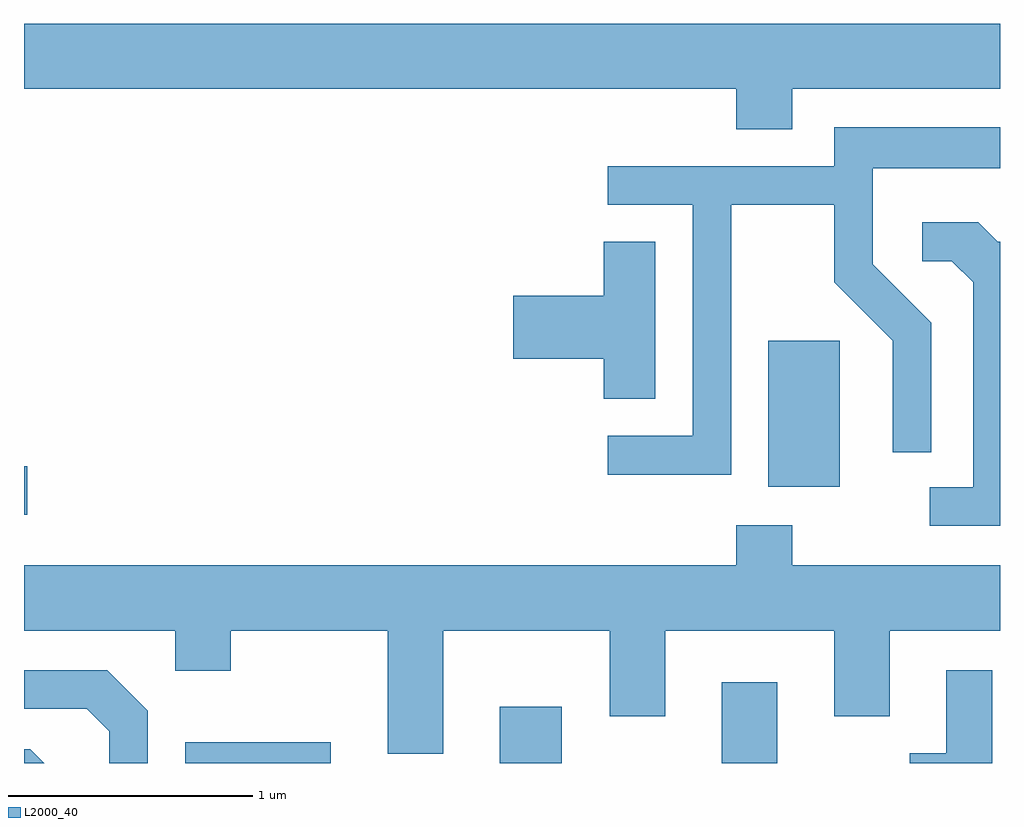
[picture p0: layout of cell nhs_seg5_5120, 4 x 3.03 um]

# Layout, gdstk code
import gdstk
lib = gdstk.Library(unit=1e-6, precision=1e-09)
def R(c, l, rs):  # rectangles x0, y0, x1, y1
    for r in rs: c.add(gdstk.rectangle(r[:2], r[2:], *l))
def P(c, l, *ps):  # polygons
    for p in ps: c.add(gdstk.Polygon(p, *l))
L2000_40 = (2000, 40)

nhs_seg5_5120 = lib.new_cell('nhs_seg5_5120')
R(nhs_seg5_5120, L2000_40, [(338.271,1414.072,338.869,1414.159), (339.561,1414.072,339.814,1414.304), (340.471,1414.072,340.699,1414.404), (337.611,1415.091,337.624,1415.289), (340.661,1415.206,340.954,1415.804)])
P(nhs_seg5_5120, L2000_40, [(340.759,1416.836),(341.611,1416.836),(341.611,1417.104),(337.611,1417.104),(337.611,1416.836),(340.531,1416.836),(340.531,1416.671),(340.759,1416.671)],
  [(340.509,1416.361),(340.931,1416.361),(340.931,1416.044),(341.171,1415.804),(341.171,1415.348),(341.329,1415.348),(341.329,1415.877),(341.089,1416.117),(341.089,1416.511),(341.611,1416.511),(341.611,1416.679),(340.931,1416.679),(340.931,1416.519),(340.003,1416.519),(340.003,1416.361),(340.351,1416.361),(340.351,1415.414),(340.003,1415.414),(340.003,1415.256),(340.509,1415.256)],
  [(341.611,1416.209),(341.602,1416.209),(341.522,1416.289),(341.293,1416.289),(341.293,1416.131),(341.414,1416.131),(341.501,1416.044),(341.501,1415.204),(341.323,1415.204),(341.323,1415.046),(341.611,1415.046)],
  [(340.199,1416.209),(339.986,1416.209),(339.986,1415.989),(339.616,1415.989),(339.616,1415.731),(339.986,1415.731),(339.986,1415.566),(340.199,1415.566)],
  [(339.329,1414.616),(340.011,1414.616),(340.011,1414.266),(340.239,1414.266),(340.239,1414.616),(340.931,1414.616),(340.931,1414.266),(341.159,1414.266),(341.159,1414.616),(341.611,1414.616),(341.611,1414.884),(340.759,1414.884),(340.759,1415.049),(340.531,1415.049),(340.531,1414.884),(337.611,1414.884),(337.611,1414.616),(338.231,1414.616),(338.231,1414.451),(338.459,1414.451),(338.459,1414.616),(339.101,1414.616),(339.101,1414.111),(339.329,1414.111)],
  [(338.119,1414.287),(337.952,1414.454),(337.611,1414.454),(337.611,1414.296),(337.869,1414.296),(337.961,1414.204),(337.961,1414.072),(338.119,1414.072)],
  [(341.579,1414.454),(341.391,1414.454),(341.391,1414.114),(341.241,1414.114),(341.241,1414.072),(341.579,1414.072)],
  [(337.637,1414.129),(337.611,1414.129),(337.611,1414.072),(337.694,1414.072)])

lib.write_gds('nhs_seg5_5120.gds')
